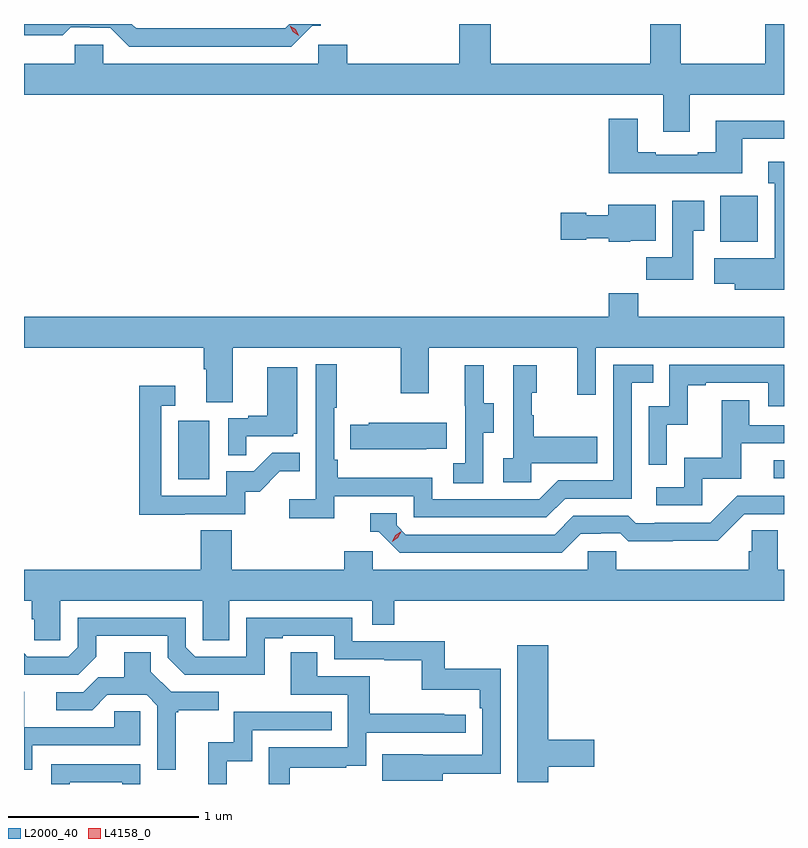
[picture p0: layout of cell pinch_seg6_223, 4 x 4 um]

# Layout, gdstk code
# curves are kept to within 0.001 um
import gdstk
lib = gdstk.Library(unit=1e-6, precision=1e-09)
def R(c, l, rs):  # rectangles x0, y0, x1, y1
    for r in rs: c.add(gdstk.rectangle(r[:2], r[2:], *l))
def P(c, l, *ps):  # polygons
    for p in ps: c.add(gdstk.Polygon(p, *l))
L2000_40 = (2000, 40)
L4158_0 = (4158, 0)

pinch_seg6_223 = lib.new_cell('pinch_seg6_223')
R(pinch_seg6_223, L2000_40, [(1130.132,930.66,1130.296,930.967), (1133.265,930.666,1133.32,930.759), (1132.985,931.91,1133.182,932.152)])
P(pinch_seg6_223, L2000_40, [(1130.838,933.048),(1130.881,933.048),(1130.881,933.056),(1130.717,933.056),(1130.694,933.033),(1129.911,933.033),(1129.888,933.056),(1129.32,933.056),(1129.32,932.997),(1129.523,932.997),(1129.565,933.039),(1129.668,933.039),(1129.668,933.036),(1129.775,933.036),(1129.874,932.937),(1130.727,932.937)],
  [(1132.825,932.684),(1133.32,932.684),(1133.32,933.056),(1133.221,933.056),(1133.221,932.848),(1132.776,932.848),(1132.776,933.056),(1132.616,933.056),(1132.616,932.848),(1131.776,932.848),(1131.776,933.056),(1131.611,933.056),(1131.611,932.848),(1131.02,932.848),(1131.02,932.946),(1130.868,932.946),(1130.868,932.848),(1129.737,932.848),(1129.737,932.946),(1129.587,932.946),(1129.587,932.848),(1129.32,932.848),(1129.32,932.684),(1132.685,932.684),(1132.685,932.49),(1132.825,932.49)],
  [(1133.101,932.451),(1133.32,932.451),(1133.32,932.548),(1132.961,932.548),(1132.961,932.38),(1132.865,932.38),(1132.865,932.367),(1132.645,932.367),(1132.645,932.38),(1132.549,932.38),(1132.549,932.557),(1132.397,932.557),(1132.397,932.27),(1133.101,932.27)],
  [(1133.32,932.332),(1133.237,932.332),(1133.237,932.219),(1133.27,932.219),(1133.27,931.822),(1132.953,931.822),(1132.953,931.688),(1133.06,931.688),(1133.06,931.658),(1133.32,931.658)],
  [(1132.843,931.969),(1132.9,931.969),(1132.9,932.125),(1132.733,932.125),(1132.733,931.828),(1132.594,931.828),(1132.594,931.71),(1132.843,931.71)],
  [(1132.512,931.916),(1132.645,931.916),(1132.645,932.104),(1132.394,932.104),(1132.394,932.05),(1132.278,932.05),(1132.278,932.063),(1132.146,932.063),(1132.146,931.921),(1132.278,931.921),(1132.278,931.928),(1132.398,931.928),(1132.398,931.91),(1132.512,931.91)],
  [(1130.419,931.352),(1131.304,931.352),(1131.304,931.113),(1131.451,931.113),(1131.451,931.352),(1132.232,931.352),(1132.232,931.104),(1132.329,931.104),(1132.329,931.352),(1133.32,931.352),(1133.32,931.516),(1132.553,931.516),(1132.553,931.64),(1132.397,931.64),(1132.397,931.516),(1129.32,931.516),(1129.32,931.352),(1130.267,931.352),(1130.267,931.24),(1130.279,931.24),(1130.279,931.066),(1130.419,931.066)],
  [(1130.954,930.57),(1131.372,930.57),(1131.372,930.459),(1132.069,930.459),(1132.168,930.558),(1132.518,930.558),(1132.518,931.167),(1132.631,931.167),(1132.631,931.263),(1132.422,931.263),(1132.422,930.654),(1132.131,930.654),(1132.032,930.555),(1131.468,930.555),(1131.468,930.667),(1130.972,930.667),(1130.972,930.763),(1130.952,930.763),(1130.952,931.036),(1130.965,931.036),(1130.965,931.264),(1130.856,931.264),(1130.856,930.556),(1130.715,930.556),(1130.715,930.454),(1130.954,930.454)],
  [(1132.704,930.947),(1132.814,930.947),(1132.814,931.155),(1132.909,931.155),(1132.909,931.167),(1133.238,931.167),(1133.238,931.044),(1133.32,931.044),(1133.32,931.263),(1132.716,931.263),(1132.716,931.044),(1132.608,931.044),(1132.608,930.735),(1132.704,930.735)],
  [(1131.738,930.904),(1131.793,930.904),(1131.793,931.059),(1131.739,931.059),(1131.739,931.261),(1131.641,931.261),(1131.641,931.047),(1131.642,931.047),(1131.642,930.743),(1131.579,930.743),(1131.579,930.64),(1131.738,930.64)],
  [(1131.99,930.743),(1132.337,930.743),(1132.337,930.883),(1132.003,930.883),(1132.003,930.998),(1131.993,930.998),(1131.993,931.116),(1132.018,931.116),(1132.018,931.261),(1131.894,931.261),(1131.894,930.77),(1131.843,930.77),(1131.843,930.645),(1131.99,930.645)],
  [(1130.489,930.885),(1130.736,930.885),(1130.736,930.9),(1130.758,930.9),(1130.758,931.249),(1130.6,931.249),(1130.6,930.994),(1130.501,930.994),(1130.501,930.981),(1130.394,930.981),(1130.394,930.787),(1130.489,930.787)],
  [(1130.165,930.477),(1130.484,930.477),(1130.484,930.594),(1130.56,930.594),(1130.667,930.701),(1130.771,930.701),(1130.771,930.8),(1130.627,930.8),(1130.529,930.702),(1130.385,930.702),(1130.385,930.573),(1130.043,930.573),(1130.043,931.047),(1130.116,931.047),(1130.116,931.153),(1129.927,931.153),(1129.927,930.472),(1130.165,930.472)],
  [(1132.89,930.663),(1133.095,930.663),(1133.095,930.849),(1133.32,930.849),(1133.32,930.945),(1133.137,930.945),(1133.137,931.075),(1132.993,931.075),(1132.993,930.772),(1132.794,930.772),(1132.794,930.618),(1132.647,930.618),(1132.647,930.522),(1132.89,930.522)],
  [(1131.437,930.821),(1131.545,930.821),(1131.545,930.958),(1131.135,930.958),(1131.135,930.948),(1131.037,930.948),(1131.037,930.818),(1131.437,930.818)],
  [(1132.249,930.372),(1132.356,930.372),(1132.356,930.375),(1132.459,930.375),(1132.501,930.333),(1132.734,930.333),(1132.734,930.335),(1132.97,930.335),(1133.112,930.477),(1133.32,930.477),(1133.32,930.573),(1133.073,930.573),(1132.932,930.432),(1132.639,930.432),(1132.639,930.429),(1132.54,930.429),(1132.501,930.468),(1132.212,930.468),(1132.113,930.369),(1131.33,930.369),(1131.282,930.417),(1131.282,930.48),(1131.143,930.48),(1131.143,930.384),(1131.186,930.384),(1131.297,930.273),(1132.15,930.273)],
  [(1129.512,930.02),(1130.262,930.02),(1130.262,929.812),(1130.401,929.812),(1130.401,930.02),(1131.153,930.02),(1131.153,929.893),(1131.269,929.893),(1131.269,930.02),(1133.32,930.02),(1133.32,930.184),(1133.286,930.184),(1133.286,930.392),(1133.149,930.392),(1133.149,930.282),(1133.135,930.282),(1133.135,930.184),(1132.437,930.184),(1132.437,930.282),(1132.287,930.282),(1132.287,930.184),(1131.156,930.184),(1131.156,930.282),(1131.005,930.282),(1131.005,930.184),(1130.414,930.184),(1130.414,930.392),(1130.249,930.392),(1130.249,930.184),(1129.32,930.184),(1129.32,930.02),(1129.361,930.02),(1129.361,929.922),(1129.375,929.922),(1129.375,929.812),(1129.512,929.812)],
  [(1131.523,929.11),(1131.828,929.11),(1131.828,929.662),(1131.535,929.662),(1131.535,929.808),(1131.048,929.808),(1131.048,929.931),(1130.49,929.931),(1130.49,929.727),(1130.22,929.727),(1130.172,929.775),(1130.172,929.931),(1129.602,929.931),(1129.602,929.775),(1129.554,929.727),(1129.338,929.727),(1129.32,929.745),(1129.32,929.631),(1129.605,929.631),(1129.699,929.725),(1129.699,929.835),(1130.076,929.835),(1130.076,929.721),(1130.166,929.631),(1130.587,929.63),(1130.587,929.823),(1130.683,929.823),(1130.683,929.835),(1130.952,929.835),(1130.952,929.712),(1131.217,929.712),(1131.217,929.707),(1131.414,929.707),(1131.414,929.552),(1131.719,929.552),(1131.719,929.456),(1131.732,929.456),(1131.732,929.211),(1131.205,929.212),(1131.205,929.072),(1131.523,929.072)],
  [(1132.078,929.146),(1132.321,929.146),(1132.321,929.288),(1132.078,929.288),(1132.078,929.785),(1131.917,929.785),(1131.917,929.064),(1132.078,929.064)],
  [(1130.719,929.142),(1131.017,929.142),(1131.017,929.153),(1131.12,929.153),(1131.12,929.325),(1131.646,929.325),(1131.646,929.421),(1131.533,929.421),(1131.533,929.426),(1131.14,929.426),(1131.14,929.622),(1130.863,929.622),(1130.863,929.75),(1130.723,929.75),(1130.723,929.526),(1131.024,929.526),(1131.024,929.25),(1130.608,929.25),(1130.608,929.056),(1130.719,929.056)],
  [(1130.119,929.433),(1130.131,929.433),(1130.131,929.444),(1130.344,929.444),(1130.344,929.541),(1130.094,929.541),(1129.987,929.648),(1129.987,929.75),(1129.847,929.75),(1129.847,929.618),(1129.712,929.618),(1129.632,929.538),(1129.491,929.538),(1129.491,929.445),(1129.678,929.445),(1129.759,929.526),(1129.965,929.526),(1130.022,929.469),(1130.022,929.13),(1130.119,929.13)],
  [(1129.363,929.259),(1129.932,929.259),(1129.932,929.439),(1129.795,929.439),(1129.795,929.355),(1129.321,929.355),(1129.321,929.541),(1129.32,929.541),(1129.32,929.13),(1129.363,929.13)],
  [(1130.388,929.177),(1130.52,929.177),(1130.52,929.34),(1130.939,929.34),(1130.939,929.436),(1130.424,929.436),(1130.424,929.275),(1130.291,929.275),(1130.291,929.056),(1130.388,929.056)],
  [(1129.56,929.064),(1129.836,929.064),(1129.836,929.056),(1129.932,929.056),(1129.932,929.16),(1129.464,929.16),(1129.464,929.056),(1129.56,929.056)])
P(pinch_seg6_223, L4158_0, [(1131.258,930.332),(1131.258,930.332),(1131.274,930.365),(1131.304,930.384),(1131.305,930.384),(1131.305,930.383),(1131.288,930.351),(1131.258,930.332)],
  [(1130.766,932.995),(1130.735,933.015),(1130.718,933.047),(1130.718,933.047),(1130.719,933.047),(1130.75,933.028),(1130.766,932.996),(1130.766,932.995)])

lib.write_gds('pinch_seg6_223.gds')
